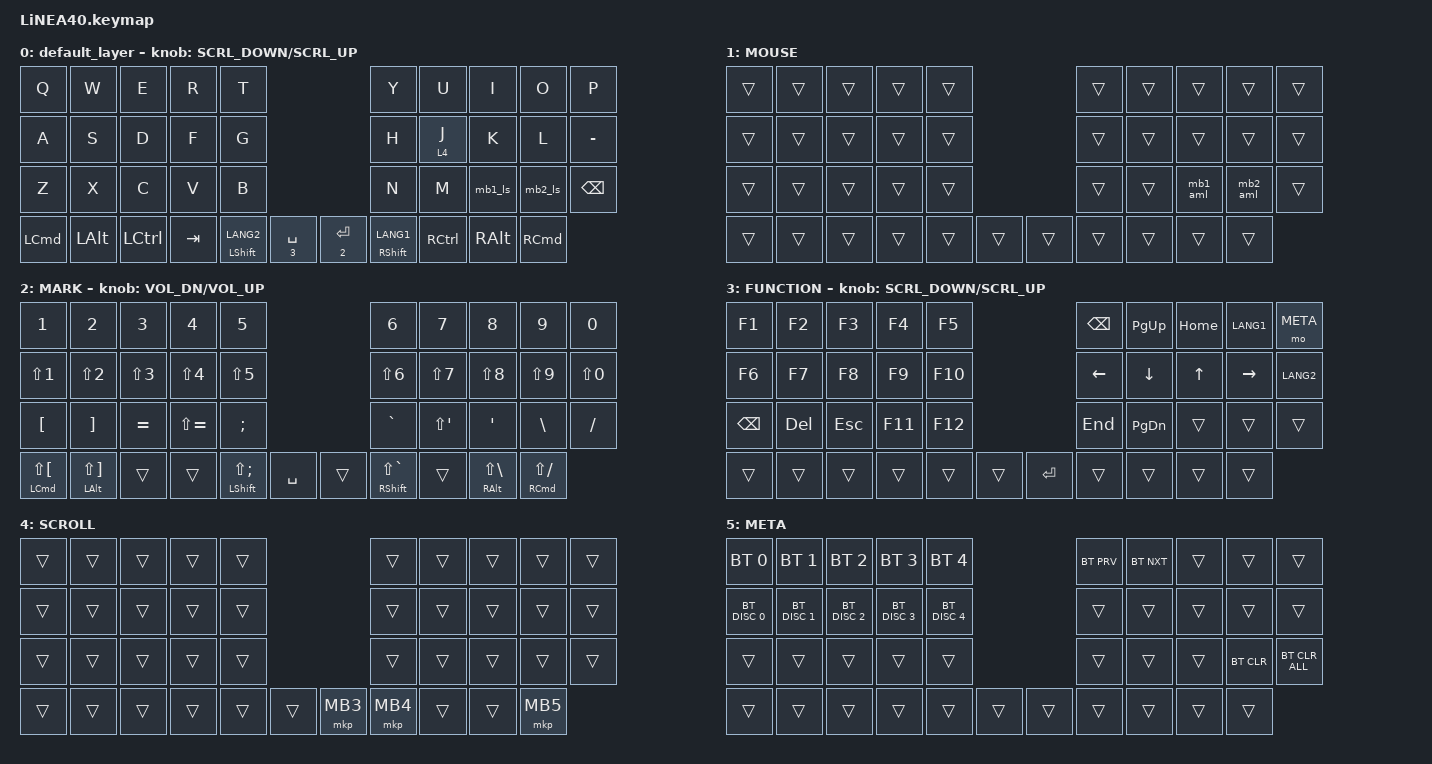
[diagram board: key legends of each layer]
#define ZMK_POINTING_DEFAULT_SCRL_VAL 150

#include <dt-bindings/zmk/input_transform.h>
#include <input/processors.dtsi>
#include <zephyr/dt-bindings/input/input-event-codes.h>
#include <behaviors.dtsi>
#include <dt-bindings/zmk/bt.h>
#include <dt-bindings/zmk/keys.h>
#include <dt-bindings/zmk/modifiers.h>
#include <dt-bindings/zmk/pointing.h>

#define MOUSE 1
#define MARK 2
#define FUNCTION 3
#define SCROLL 4
#define META 5
#define AK_LAYER_MARK F21
// 文章操作のあと、句読点のままにする時間（ms）
#define AK_PUNCT_IDLE_MS 4000

#define LOPT LALT
#define ROPT RALT

&mt { flavor = "hold-preferred"; };

&lt { flavor = "hold-preferred"; };

//mouse cursol

&mmv {
    delay-ms = <20>;
    trigger-period-ms = <5>;
    time-to-max-speed-ms = <100>;
    acceleration-exponent = <2>;
};

//mouse scroll

&msc {
    delay-ms = <3>;
    trigger-period-ms = <3>;
    time-to-max-speed-ms = <100>;
    acceleration-exponent = <0>;
};

/ {
    input_processors {
        zip_wheel_scaler: zip_wheel_scaler {
            compatible = "zmk,input-processor-scaler";
            #input-processor-cells = <2>;
            type = <INPUT_EV_REL>;
            codes = <INPUT_REL_WHEEL>;
            track-remainders;
        };

        // ボール操作で MOUSE を乗せ、クリック以外のキーで外す（句読点クールタイムを打ち切る）
        zip_ak_mouse: zip_ak_mouse {
            compatible = "zmk,input-processor-temp-layer";
            #input-processor-cells = <2>;
            excluded-positions = <27 28>;
        };
    };
};

&msc_input_listener {
    speed_up {
        layers = <FUNCTION>;
        input-processors = <&zip_wheel_scaler 3 1>; //スクロールを3倍速にする
    };
};

&trackball_listener {
    input-processors = <&zip_ak_mouse MOUSE 1500>;

    scroller {
        layers = <SCROLL>;
        input-processors =
            <&zip_ak_mouse MOUSE 1500>,
            // スクロール用に感度を小さくする,,,,,,,,,,,,,,
            <&zip_xy_scaler 1 30>,
            // スクロール方向を逆転,,,,,,,,,,,,,,
            <&zip_xy_transform INPUT_TRANSFORM_Y_INVERT>,
            // マウス移動をスクロールに割り当て,,,,,,,,,,,,,,
            <&zip_xy_to_scroll_mapper>;
    };
};

/ {
    combos { compatible = "zmk,combos"; };

    macros {
        // レイヤーを押しながら未使用キーをタップし、句読点判定の直前キーにする
        mo_ak: mo_ak {
            compatible = "zmk,behavior-macro-one-param";
            #binding-cells = <1>;
            wait-ms = <0>;
            tap-ms = <5>;
            bindings
                = <&macro_param_1to1>
                , <&macro_press &mo MACRO_PLACEHOLDER>
                , <&macro_tap &kp AK_LAYER_MARK>
                , <&macro_pause_for_release>
                , <&macro_param_1to1>
                , <&macro_release &mo MACRO_PLACEHOLDER>
                ;
        };
    };

    behaviors {
        re_kp: sensor_rotate_kp {
            compatible = "zmk,behavior-sensor-rotate-var";
            #sensor-binding-cells = <2>;
            bindings = <&kp>, <&kp>;
        };

        mouse_scrl: mouse_wheel_scrl {
            compatible = "zmk,behavior-sensor-rotate-var";
            #sensor-binding-cells = <2>;
            bindings = <&msc>, <&msc>;

            tap-ms = <20>;
        };

        re_kp_delay: re_kp_delay {
            compatible = "zmk,behavior-sensor-rotate-var";
            label = "RE_KP_DELAY";
            #sensor-binding-cells = <2>;
            bindings = <&kp>, <&kp>;

            tap-ms = <50>;
        };

        // J: tap は文字、hold は SCROLL。次が文字・-・BS・,・. なら tap（連続入力）
        // hold 対象は親指だけ。句読点位置を入れると j, のロールがクリックになる
        // 押下直後から SCROLL を載せる。タップなら層を外してから文字を出す
        lsc: l_scroll {
            compatible = "zmk,behavior-hold-tap";
            #binding-cells = <2>;
            flavor = "hold-preferred";
            tapping-term-ms = <200>;
            require-prior-idle-ms = <125>;
            quick-tap-ms = <175>;
            hold-while-undecided;
            bindings = <&mo>, <&kp>;
            hold-trigger-key-positions = <30 31 32 33 34 35 36 37 38 39 40>;
        };

        // { } は連続入力が多いため、ほぼ同時押しでも修飾ではなくお互いのタップにする。
        // ZMKでは「このキーは連続入力」は直接指定できないので、
        // hold-trigger-key-positions は修飾にする相手キーなので、{ }（左Cmd/左Opt、位置 30 31）を外して書く。
        mt_brace: mt_brace {
            compatible = "zmk,behavior-hold-tap";
            #binding-cells = <2>;
            flavor = "hold-preferred";
            tapping-term-ms = <200>;
            bindings = <&kp>, <&kp>;
            hold-trigger-key-positions = <
                0 1 2 3 4 5 6 7 8 9
                10 11 12 13 14 15 16 17 18 19
                20 21 22 23 24 25 26 27 28 29
                32 33 34 35 36 37 38 39 40
            >;
        };

        // tap は通常キー、hold は MARK/FUNCTION ＋句読点用マーカ
        ak_lt: adaptive_layer_tap {
            compatible = "zmk,behavior-hold-tap";
            #binding-cells = <2>;
            flavor = "hold-preferred";
            tapping-term-ms = <200>;
            bindings = <&mo_ak>, <&kp>;
        };

        // 直前が文字・文章操作（IME/移動/MARK・FUNCTION 入場）なら句読点、それ以外はマウスボタン
        ak_mb1: adaptive_mb1 {
            compatible = "zmk,behavior-adaptive-key";
            #binding-cells = <0>;
            bindings = <&mkp MB1>;
            dead-keys = <AK_LAYER_MARK>;

            after_alpha {
                trigger-keys = <A B C D E F G H I J K L M N O P Q R S T U V W X Y Z>;
                max-prior-idle-ms = <AK_PUNCT_IDLE_MS>;
                strict-modifiers;
                bindings = <&kp COMMA>;
            };
            after_ls {
                trigger-keys = <LS(A) LS(B) LS(C) LS(D) LS(E) LS(F) LS(G) LS(H) LS(I) LS(J) LS(K) LS(L) LS(M) LS(N) LS(O) LS(P) LS(Q) LS(R) LS(S) LS(T) LS(U) LS(V) LS(W) LS(X) LS(Y) LS(Z)>;
                max-prior-idle-ms = <AK_PUNCT_IDLE_MS>;
                strict-modifiers;
                bindings = <&kp COMMA>;
            };
            after_rs {
                trigger-keys = <RS(A) RS(B) RS(C) RS(D) RS(E) RS(F) RS(G) RS(H) RS(I) RS(J) RS(K) RS(L) RS(M) RS(N) RS(O) RS(P) RS(Q) RS(R) RS(S) RS(T) RS(U) RS(V) RS(W) RS(X) RS(Y) RS(Z)>;
                max-prior-idle-ms = <AK_PUNCT_IDLE_MS>;
                strict-modifiers;
                bindings = <&kp COMMA>;
            };
            after_edit {
                trigger-keys = <LC(C) LC(V) LC(X) RC(C) RC(V) RC(X) LG(C) LG(V) LG(X) RG(C) RG(V) RG(X)>;
                max-prior-idle-ms = <AK_PUNCT_IDLE_MS>;
                strict-modifiers;
                bindings = <&kp COMMA>;
            };
            after_other {
                trigger-keys = <N0 N1 N2 N3 N4 N5 N6 N7 N8 N9 SPACE RET BSPC MINUS COMMA DOT FSLH SEMI LANG1 LANG2 LEFT RIGHT UP DOWN PG_UP PG_DN HOME END AK_LAYER_MARK>;
                max-prior-idle-ms = <AK_PUNCT_IDLE_MS>;
                bindings = <&kp COMMA>;
            };
        };

        ak_mb2: adaptive_mb2 {
            compatible = "zmk,behavior-adaptive-key";
            #binding-cells = <0>;
            bindings = <&mkp MB2>;
            dead-keys = <AK_LAYER_MARK>;

            after_alpha {
                trigger-keys = <A B C D E F G H I J K L M N O P Q R S T U V W X Y Z>;
                max-prior-idle-ms = <AK_PUNCT_IDLE_MS>;
                strict-modifiers;
                bindings = <&kp DOT>;
            };
            after_ls {
                trigger-keys = <LS(A) LS(B) LS(C) LS(D) LS(E) LS(F) LS(G) LS(H) LS(I) LS(J) LS(K) LS(L) LS(M) LS(N) LS(O) LS(P) LS(Q) LS(R) LS(S) LS(T) LS(U) LS(V) LS(W) LS(X) LS(Y) LS(Z)>;
                max-prior-idle-ms = <AK_PUNCT_IDLE_MS>;
                strict-modifiers;
                bindings = <&kp DOT>;
            };
            after_rs {
                trigger-keys = <RS(A) RS(B) RS(C) RS(D) RS(E) RS(F) RS(G) RS(H) RS(I) RS(J) RS(K) RS(L) RS(M) RS(N) RS(O) RS(P) RS(Q) RS(R) RS(S) RS(T) RS(U) RS(V) RS(W) RS(X) RS(Y) RS(Z)>;
                max-prior-idle-ms = <AK_PUNCT_IDLE_MS>;
                strict-modifiers;
                bindings = <&kp DOT>;
            };
            after_edit {
                trigger-keys = <LC(C) LC(V) LC(X) RC(C) RC(V) RC(X) LG(C) LG(V) LG(X) RG(C) RG(V) RG(X)>;
                max-prior-idle-ms = <AK_PUNCT_IDLE_MS>;
                strict-modifiers;
                bindings = <&kp DOT>;
            };
            after_other {
                trigger-keys = <N0 N1 N2 N3 N4 N5 N6 N7 N8 N9 SPACE RET BSPC MINUS COMMA DOT FSLH SEMI LANG1 LANG2 LEFT RIGHT UP DOWN PG_UP PG_DN HOME END AK_LAYER_MARK>;
                max-prior-idle-ms = <AK_PUNCT_IDLE_MS>;
                bindings = <&kp DOT>;
            };
        };

        // 左Shiftはクリック（ドラッグ）。右Shiftは < >、右Cmdは , .
        mb1_rs: mb1_rs {
            compatible = "zmk,behavior-mod-morph";
            #binding-cells = <0>;
            bindings = <&ak_mb1>, <&kp COMMA>;
            mods = <(MOD_RSFT|MOD_RGUI)>;
            keep-mods = <(MOD_RSFT|MOD_RGUI)>;
        };
        mb1_ls: mb1_ls {
            compatible = "zmk,behavior-mod-morph";
            #binding-cells = <0>;
            bindings = <&mb1_rs>, <&mkp MB1>;
            mods = <(MOD_LSFT)>;
            keep-mods = <(MOD_LSFT)>;
        };
        mb2_rs: mb2_rs {
            compatible = "zmk,behavior-mod-morph";
            #binding-cells = <0>;
            bindings = <&ak_mb2>, <&kp DOT>;
            mods = <(MOD_RSFT|MOD_RGUI)>;
            keep-mods = <(MOD_RSFT|MOD_RGUI)>;
        };
        mb2_ls: mb2_ls {
            compatible = "zmk,behavior-mod-morph";
            #binding-cells = <0>;
            bindings = <&mb2_rs>, <&mkp MB2>;
            mods = <(MOD_LSFT)>;
            keep-mods = <(MOD_LSFT)>;
        };
        // AML 中は句読点判定を使わず、右Shiftは < >、右Cmdは , . にする
        mb1_aml: mb1_aml {
            compatible = "zmk,behavior-mod-morph";
            #binding-cells = <0>;
            bindings = <&mkp MB1>, <&kp COMMA>;
            mods = <(MOD_RSFT|MOD_RGUI)>;
            keep-mods = <(MOD_RSFT|MOD_RGUI)>;
        };
        mb2_aml: mb2_aml {
            compatible = "zmk,behavior-mod-morph";
            #binding-cells = <0>;
            bindings = <&mkp MB2>, <&kp DOT>;
            mods = <(MOD_RSFT|MOD_RGUI)>;
            keep-mods = <(MOD_RSFT|MOD_RGUI)>;
        };
    };

    keymap {
        compatible = "zmk,keymap";

        default_layer {
            bindings = <
&kp Q     &kp W     &kp E      &kp R    &kp T                                          &kp Y  &kp U     &kp I      &kp O     &kp P
&kp A     &kp S     &kp D      &kp F    &kp G                                          &kp H  &lsc 4 J  &kp K      &kp L     &kp MINUS
&kp Z     &kp X     &kp C      &kp V    &kp B                                          &kp N  &kp M     &mb1_ls    &mb2_ls   &kp BSPC
&kp LCMD  &kp LOPT  &kp LCTRL  &kp TAB  &mt LSHFT LANG2  &ak_lt 3 SPACE  &ak_lt 2 RET  &mt RSHFT LANG1  &kp RCTRL  &kp ROPT  &kp RCMD
            >;

            sensor-bindings = <&mouse_scrl SCRL_DOWN SCRL_UP>;
        };

        //1

        MOUSE {
            bindings = <
&trans  &trans  &trans  &trans  &trans                  &trans  &trans  &trans    &trans    &trans
&trans  &trans  &trans  &trans  &trans                  &trans  &trans  &trans    &trans    &trans
&trans  &trans  &trans  &trans  &trans                  &trans  &trans  &mb1_aml  &mb2_aml  &trans
&trans  &trans  &trans  &trans  &trans  &trans  &trans  &trans          &trans    &trans    &trans
            >;
        };

        //2

        MARK {
            bindings = <
&kp N1                   &kp N2                   &kp N3      &kp N4         &kp N5                                 &kp N6               &kp N7       &kp N8      &kp N9             &kp N0
&kp LS(N1)               &kp LS(N2)               &kp LS(N3)  &kp LS(N4)     &kp LS(N5)                             &kp LS(N6)           &kp LS(N7)   &kp LS(N8)  &kp LS(N9)         &kp LS(N0)
&kp LBKT                 &kp RBKT                 &kp EQUAL   &kp LS(EQUAL)  &kp SEMI                               &kp GRAVE            &kp LS(SQT)  &kp SQT     &kp BSLH           &kp FSLH
&mt_brace LCMD LS(LBKT)  &mt_brace LOPT LS(RBKT)  &trans      &trans         &mt LSHFT LS(SEMI)  &kp SPACE  &trans  &mt RSHFT LS(GRAVE)               &trans      &mt ROPT LS(BSLH)  &mt RCMD LS(FSLH)
            >;

            sensor-bindings = <&re_kp C_VOL_DN C_VOL_UP>;
        };

        //3

        FUNCTION {
            bindings = <
&kp F1    &kp F2   &kp F3   &kp F4   &kp F5                    &kp BSPC  &kp PG_UP  &kp HOME  &kp LANG1  &mo META
&kp F6    &kp F7   &kp F8   &kp F9   &kp F10                   &kp LEFT  &kp DOWN   &kp UP    &kp RIGHT  &kp LANG2
&kp BSPC  &kp DEL  &kp ESC  &kp F11  &kp F12                   &kp END   &kp PG_DN  &trans    &trans    &trans
&trans    &trans   &trans   &trans   &trans   &trans  &kp RET  &trans               &trans    &trans     &trans
            >;

            sensor-bindings = <&mouse_scrl SCRL_DOWN SCRL_UP>;
        };

        //4

        SCROLL {
            bindings = <
&trans  &trans  &trans  &trans  &trans                    &trans  &trans  &trans  &trans  &trans
&trans  &trans  &trans  &trans  &trans                    &trans  &trans  &trans  &trans  &trans
&trans  &trans  &trans  &trans  &trans                    &trans  &trans  &trans  &trans  &trans
&trans  &trans  &trans  &trans  &trans  &trans  &mkp MB3  &mkp MB4        &trans  &trans  &mkp MB5
            >;
        };

        //5  Bluetooth。FUNCTION の P をホールドして入る

        META {
            bindings = <
&bt BT_SEL 0   &bt BT_SEL 1   &bt BT_SEL 2   &bt BT_SEL 3   &bt BT_SEL 4                    &bt BT_PRV  &bt BT_NXT  &trans  &trans  &trans
&bt BT_DISC 0  &bt BT_DISC 1  &bt BT_DISC 2  &bt BT_DISC 3  &bt BT_DISC 4                   &trans      &trans      &trans  &trans  &trans
&trans         &trans         &trans         &trans         &trans                          &trans      &trans      &trans  &bt BT_CLR  &bt BT_CLR_ALL
&trans         &trans         &trans         &trans         &trans        &trans  &trans    &trans                  &trans  &trans  &trans
            >;
        };
    };
};
